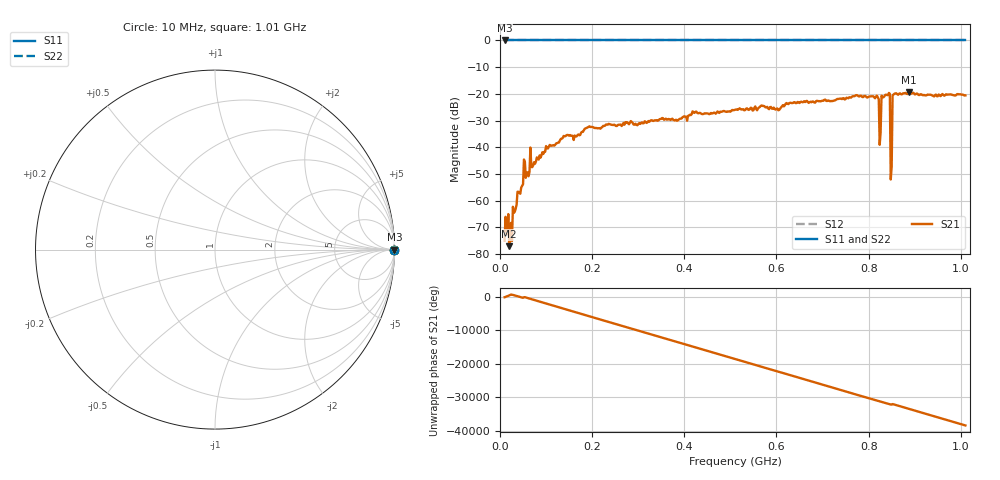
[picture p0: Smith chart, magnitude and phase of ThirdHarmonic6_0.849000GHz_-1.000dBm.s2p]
! 8/16/2025 4:07:08 AM
! C:\ANRITSUVNA\TEMP\TEMP.S2P
! CHANNEL.1
! TR.MEASUREMENT
! RAW.DATA
! RF.CORRECTION.OFF
! AVERAGING.OFF
! IF.BANDWIDTH: 5KHZ
! SWEEPTYPE:  FREQ.SWEEP(Linear)
! Reference Plane Port Info
! PORT:  PORT1  PORT2
! DISTANCE:  0  m  0  m
! TIME:  0  s  0  s
! PHASE.OFFSET:  0  deg.  0  deg.
! LOSS:  0  dB  0  dB
! REF.LOSS:  0  dB  0  dB
! REF.FREQ:  0  Hz  0  Hz
! Power Info
! POWER:  -20  dBm  -20  dBm
! EFF.POWER:  -20  dBm  -20  dBm
! SOURCE.ATTEN:  0  dB  0  dB
! TEST.ATTEN:  0  dB  0  dB
# GHZ S RI R 50.0
! FREQ.GHZ  S11RE  S11IM  S21RE  S21IM  S12RE  S12IM  S22RE  S22IM
!; PortSelection: Port_12
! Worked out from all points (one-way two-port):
!   501 points, 10 MHz to 1.01 GHz, reference 50 ohm
!   highest |S21| = -19.32 dB at 888 MHz (marker M1); lowest = -77.0 dB at 20 MHz (marker M2)
!   lowest |S11| = 0.0 dB at 10 MHz (marker M3)
!   |S11| at or under -10 dB: nowhere
!   |S22| runs from 0.0 to 0.0 dB; largest |S21 - S12| = 1.1
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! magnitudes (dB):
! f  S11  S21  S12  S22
! 10 MHz  0.0  -74.7  0.0  0.0
! 20 MHz  0.0  -77.0  0.0  0.0
! 24 MHz  0.0  -68.3  0.0  0.0
! 56 MHz  0.0  -51.4  0.0  0.0
! 60 MHz  0.0  -49.4  0.0  0.0
! 104 MHz  0.0  -40.5  0.0  0.0
! 178 MHz  0.0  -34.2  0.0  0.0
! 344 MHz  0.0  -29.9  0.0  0.0
! 510 MHz  0.0  -25.9  0.0  0.0
! 678 MHz  0.0  -22.9  0.0  0.0
! 814 MHz  0.0  -21.6  0.0  0.0
! 818 MHz  0.0  -20.7  0.0  0.0
! 824 MHz  0.0  -39.1  0.0  0.0
! 828 MHz  0.0  -20.7  0.0  0.0
! 832 MHz  0.0  -21.3  0.0  0.0
! 842 MHz  0.0  -20.5  0.0  0.0
! 844 MHz  0.0  -19.7  0.0  0.0
! 846 MHz  0.0  -20.0  0.0  0.0
! 852 MHz  0.0  -20.6  0.0  0.0
! 856 MHz  0.0  -20.0  0.0  0.0
! 888 MHz  0.0  -19.3  0.0  0.0
! 1.01 GHz  0.0  -20.6  0.0  0.0
